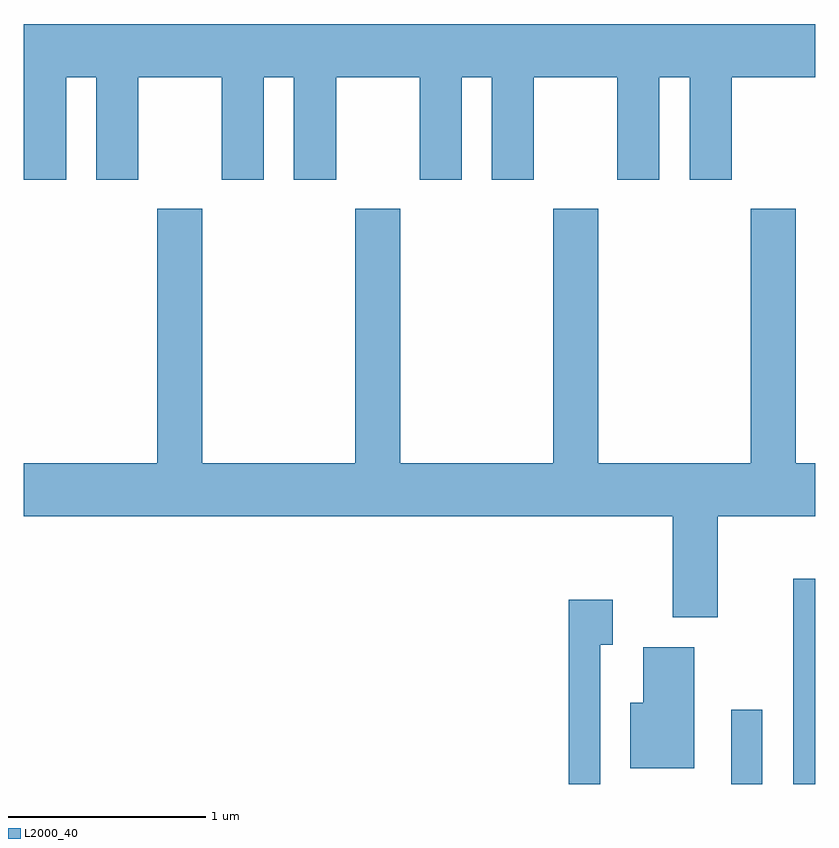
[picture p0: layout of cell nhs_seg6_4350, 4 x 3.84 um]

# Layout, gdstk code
import gdstk
lib = gdstk.Library(unit=1e-6, precision=1e-09)
def R(c, l, rs):  # rectangles x0, y0, x1, y1
    for r in rs: c.add(gdstk.rectangle(r[:2], r[2:], *l))
def P(c, l, *ps):  # polygons
    for p in ps: c.add(gdstk.Polygon(p, *l))
L2000_40 = (2000, 40)

nhs_seg6_4350 = lib.new_cell('nhs_seg6_4350')
R(nhs_seg6_4350, L2000_40, [(321.186,1624.162,321.344,1624.538), (321.501,1624.162,321.611,1625.199)])
P(nhs_seg6_4350, L2000_40, [(317.611,1627.216),(317.824,1627.216),(317.824,1627.736),(317.976,1627.736),(317.976,1627.216),(318.189,1627.216),(318.189,1627.736),(318.611,1627.736),(318.611,1627.216),(318.824,1627.216),(318.824,1627.736),(318.976,1627.736),(318.976,1627.216),(319.189,1627.216),(319.189,1627.736),(319.611,1627.736),(319.611,1627.216),(319.824,1627.216),(319.824,1627.736),(319.976,1627.736),(319.976,1627.216),(320.189,1627.216),(320.189,1627.736),(320.611,1627.736),(320.611,1627.216),(320.824,1627.216),(320.824,1627.736),(320.976,1627.736),(320.976,1627.216),(321.189,1627.216),(321.189,1627.736),(321.611,1627.736),(321.611,1628.004),(317.611,1628.004)],
  [(321.119,1625.516),(321.611,1625.516),(321.611,1625.784),(321.514,1625.784),(321.514,1627.069),(321.286,1627.069),(321.286,1625.784),(320.514,1625.784),(320.514,1627.069),(320.286,1627.069),(320.286,1625.784),(319.514,1625.784),(319.514,1627.069),(319.286,1627.069),(319.286,1625.784),(318.514,1625.784),(318.514,1627.069),(318.286,1627.069),(318.286,1625.784),(317.611,1625.784),(317.611,1625.516),(320.891,1625.516),(320.891,1625.006),(321.119,1625.006)],
  [(320.524,1624.866),(320.589,1624.866),(320.589,1625.094),(320.366,1625.094),(320.366,1624.162),(320.524,1624.162)],
  [(320.999,1624.854),(320.741,1624.854),(320.741,1624.574),(320.676,1624.574),(320.676,1624.241),(320.999,1624.241)])

lib.write_gds('nhs_seg6_4350.gds')
